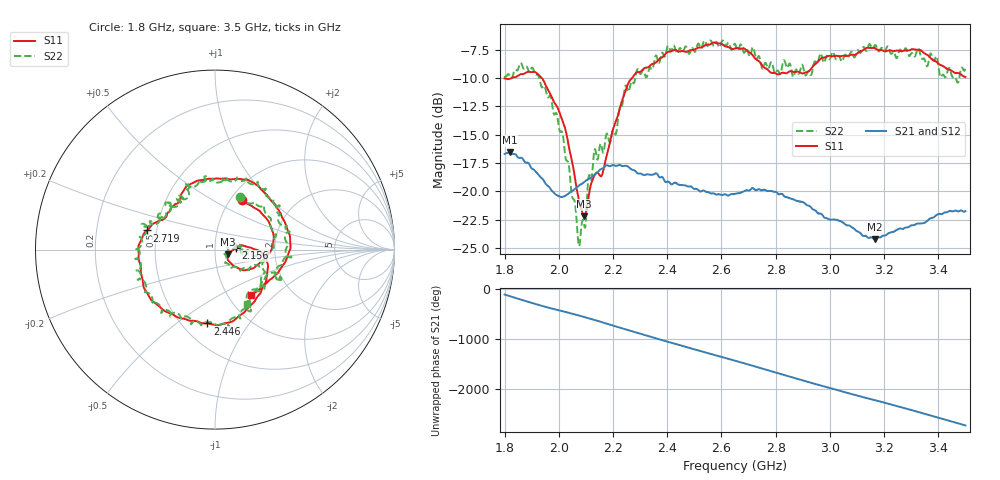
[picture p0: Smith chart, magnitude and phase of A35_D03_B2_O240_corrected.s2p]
! Created with skrf 1.9.0 (http://scikit-rf.org).
# Hz S RI R 50.0
!freq ReS11 ImS11 ReS21 ImS21 ReS12 ImS12 ReS22 ImS22
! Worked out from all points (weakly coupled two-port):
!   1601 points, 1.8 GHz to 3.5 GHz, reference 50 ohm
!   highest |S21| = -16.58 dB at 1.819 GHz (marker M1); lowest = -24.2 dB at 3.165 GHz (marker M2)
!   lowest |S11| = -22.2 dB at 2.093 GHz (marker M3), VSWR 1.17, Z = 57.8 - j2.98 ohm
!   |S11| at or under -10 dB: start of sweep to 1.826 GHz; 1.937 GHz to 2.271 GHz (333.8 MHz wide, 15.9 % of centre)
!   |S22| runs from -24.9 to -6.7 dB; largest |S21 - S12| = 0.0025
!   S11 on the Smith chart (normalised r, x): 1.8 GHz: 1.13, +0.69; 2.156 GHz: 1.26, +0.02; 2.446 GHz: 0.66, -0.65; 2.719 GHz: 0.44, +0.11; 3.5 GHz: 1.27, -0.71
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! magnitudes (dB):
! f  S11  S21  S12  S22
! 1.8 GHz  -10.0  -16.7  -16.7  -9.8
! 1.819 GHz  -10.1  -16.6  -16.6  -9.8
! 1.903 GHz  -9.5  -18.0  -18.0  -9.1
! 1.968 GHz  -11.4  -19.7  -19.8  -11.6
! 2.022 GHz  -14.3  -20.4  -20.4  -16.6
! 2.072 GHz  -20.5  -19.6  -19.6  -24.6
! 2.084 GHz  -21.6  -19.4  -19.3  -23.0
! 2.093 GHz  -22.2  -19.2  -19.2  -22.9
! 2.13 GHz  -18.7  -18.6  -18.6  -16.5
! 2.156 GHz  -18.7  -18.0  -18.0  -15.9
! 2.209 GHz  -13.9  -17.8  -17.7  -15.0
! 2.258 GHz  -10.4  -17.9  -17.9  -11.2
! 2.367 GHz  -8.4  -18.7  -18.6  -8.6
! 2.446 GHz  -7.7  -19.4  -19.4  -7.4
! 2.65 GHz  -7.4  -20.2  -20.2  -7.0
! 2.719 GHz  -8.1  -19.8  -19.7  -7.4
! 2.806 GHz  -9.7  -20.2  -20.2  -9.3
! 2.934 GHz  -9.1  -21.5  -21.5  -9.6
! 3.165 GHz  -7.4  -24.2  -24.2  -7.1
! 3.217 GHz  -7.6  -23.7  -23.7  -7.4
! 3.468 GHz  -9.6  -21.7  -21.7  -10.3
! 3.5 GHz  -9.9  -21.8  -21.8  -9.1
